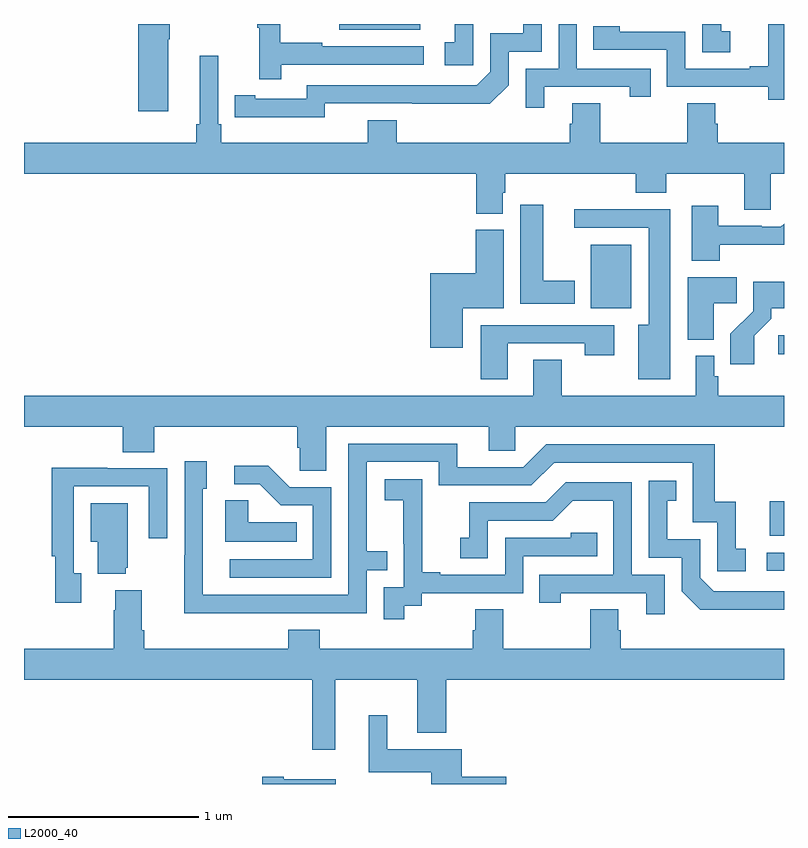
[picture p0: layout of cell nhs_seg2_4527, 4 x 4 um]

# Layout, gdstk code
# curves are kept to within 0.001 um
import gdstk
lib = gdstk.Library(unit=1e-6, precision=1e-09)
def R(c, l, rs):  # rectangles x0, y0, x1, y1
    for r in rs: c.add(gdstk.rectangle(r[:2], r[2:], *l))
def P(c, l, *ps):  # polygons
    for p in ps: c.add(gdstk.Polygon(p, *l))
L2000_40 = (2000, 40)

nhs_seg2_4527 = lib.new_cell('nhs_seg2_4527')
R(nhs_seg2_4527, L2000_40, [(360.909,602.922,361,603.018), (360.926,603.107,361,603.289), (360.969,604.063,361,604.161), (359.984,604.304,360.196,604.639), (358.659,605.771,359.086,605.8)])
P(nhs_seg2_4527, L2000_40, [(358.355,605.586),(359.104,605.586),(359.104,605.682),(358.571,605.682),(358.571,605.702),(358.348,605.702),(358.348,605.8),(358.227,605.8),(358.227,605.779),(358.238,605.779),(358.238,605.508),(358.355,605.508)],
  [(359.737,605.469),(360.188,605.469),(360.188,605.418),(360.299,605.418),(360.299,605.565),(359.91,605.565),(359.91,605.8),(359.814,605.8),(359.814,605.565),(359.64,605.565),(359.64,605.358),(359.737,605.358)],
  [(360.718,605.761),(360.669,605.761),(360.669,605.8),(360.57,605.8),(360.57,605.652),(360.718,605.652)],
  [(357.76,605.719),(357.768,605.719),(357.768,605.8),(357.602,605.8),(357.602,605.34),(357.76,605.34)],
  [(361,605.8),(360.917,605.8),(360.917,605.578),(360.821,605.578),(360.821,605.565),(360.48,605.565),(360.48,605.76),(360.135,605.76),(360.135,605.787),(359.995,605.787),(359.995,605.664),(360.384,605.664),(360.384,605.469),(360.918,605.469),(360.918,605.401),(361,605.401)],
  [(359.364,605.8),(359.267,605.8),(359.267,605.703),(359.214,605.703),(359.214,605.583),(359.364,605.583)],
  [(358.584,605.382),(359.452,605.381),(359.55,605.478),(359.55,605.655),(359.724,605.655),(359.724,605.8),(359.627,605.8),(359.627,605.751),(359.454,605.751),(359.454,605.55),(359.382,605.478),(358.488,605.478),(358.488,605.406),(358.216,605.406),(358.216,605.426),(358.108,605.426),(358.108,605.31),(358.584,605.309)],
  [(359.521,604.911),(359.534,604.911),(359.534,605.012),(360.221,605.012),(360.221,604.913),(360.381,604.913),(360.381,605.012),(360.791,605.012),(360.791,604.822),(360.93,604.822),(360.93,605.012),(361,605.012),(361,605.176),(360.65,605.176),(360.65,605.274),(360.637,605.274),(360.637,605.384),(360.49,605.384),(360.49,605.176),(360.033,605.176),(360.033,605.384),(359.885,605.384),(359.885,605.274),(359.873,605.274),(359.873,605.176),(358.961,605.176),(358.961,605.293),(358.808,605.293),(358.808,605.176),(358.037,605.176),(358.037,605.272),(358.023,605.272),(358.023,605.632),(357.926,605.632),(357.926,605.272),(357.907,605.272),(357.907,605.176),(357,605.176),(357,605.012),(359.381,605.012),(359.381,604.801),(359.521,604.801)],
  [(359.899,604.45),(359.734,604.45),(359.734,604.849),(359.612,604.849),(359.612,604.328),(359.899,604.328)],
  [(360.663,604.638),(361,604.637),(361,604.75),(360.984,604.734),(360.884,604.734),(360.884,604.737),(360.655,604.737),(360.655,604.843),(360.515,604.843),(360.515,604.553),(360.663,604.553)],
  [(360.4,604.826),(359.895,604.826),(359.895,604.728),(360.287,604.728),(360.287,604.216),(360.233,604.216),(360.233,603.93),(360.4,603.93)],
  [(359.308,604.304),(359.524,604.304),(359.524,604.716),(359.378,604.716),(359.378,604.489),(359.138,604.489),(359.138,604.095),(359.308,604.095)],
  [(360.631,604.33),(360.752,604.33),(360.752,604.468),(360.494,604.468),(360.494,604.139),(360.631,604.139)],
  [(360.844,604.159),(360.934,604.249),(360.934,604.304),(361,604.304),(361,604.444),(360.837,604.444),(360.837,604.289),(360.718,604.17),(360.718,604.008),(360.844,604.008)],
  [(359.545,604.119),(359.95,604.119),(359.95,604.056),(360.106,604.056),(360.106,604.215),(359.405,604.215),(359.405,603.93),(359.545,603.93)],
  [(357,603.68),(357.521,603.68),(357.521,603.547),(357.686,603.547),(357.686,603.68),(358.439,603.68),(358.439,603.571),(358.452,603.571),(358.452,603.448),(358.591,603.448),(358.591,603.68),(359.447,603.68),(359.447,603.553),(359.586,603.553),(359.586,603.68),(361,603.68),(361,603.844),(360.653,603.844),(360.653,603.945),(360.633,603.945),(360.633,604.054),(360.536,604.054),(360.536,603.844),(359.829,603.844),(359.829,604.034),(359.681,604.034),(359.681,603.844),(357,603.844)],
  [(358.307,602.7),(358.803,602.7),(358.803,602.925),(358.913,602.925),(358.913,603.026),(358.803,603.026),(358.803,603.495),(359.184,603.495),(359.184,603.372),(359.67,603.372),(359.79,603.492),(360.519,603.492),(360.519,603.177),(360.648,603.177),(360.648,602.919),(360.799,602.919),(360.799,603.039),(360.746,603.039),(360.746,603.286),(360.635,603.286),(360.635,603.588),(359.748,603.588),(359.628,603.468),(359.281,603.468),(359.281,603.591),(358.707,603.591),(358.707,602.796),(357.942,602.796),(357.942,603.354),(357.961,603.354),(357.961,603.499),(357.846,603.499),(357.846,603.005),(357.844,603.005),(357.844,602.699)],
  [(358.617,603.363),(358.398,603.363),(358.285,603.476),(358.107,603.476),(358.107,603.378),(358.241,603.378),(358.352,603.267),(358.521,603.267),(358.521,602.982),(358.083,602.982),(358.083,602.886),(358.617,602.886)],
  [(357.301,602.91),(357.261,602.91),(357.261,603.366),(357.657,603.366),(357.657,603.093),(357.753,603.093),(357.753,603.462),(357.437,603.462),(357.437,603.464),(357.145,603.464),(357.145,602.998),(357.164,602.998),(357.164,602.754),(357.301,602.754)],
  [(359.002,602.737),(359.094,602.737),(359.094,602.805),(359.628,602.805),(359.628,603),(360.017,603),(360.017,603.123),(359.877,603.123),(359.877,603.096),(359.532,603.096),(359.532,602.901),(359.191,602.901),(359.191,602.914),(359.096,602.914),(359.096,603.197),(359.097,603.197),(359.097,603.403),(358.899,603.403),(358.899,603.293),(358.997,603.293),(358.997,603.065),(358.998,603.065),(358.998,602.835),(358.893,602.835),(358.893,602.667),(359.002,602.667)],
  [(360.968,602.718),(361,602.718),(361,602.814),(360.63,602.814),(360.558,602.886),(360.558,603.087),(360.385,603.087),(360.385,603.291),(360.434,603.291),(360.434,603.397),(360.288,603.397),(360.288,602.991),(360.462,602.991),(360.462,602.814),(360.56,602.717)],
  [(360.372,602.901),(360.198,602.901),(360.198,603.387),(359.852,603.387),(359.747,603.282),(359.344,603.282),(359.344,603.097),(359.295,603.097),(359.295,602.988),(359.442,602.988),(359.442,603.186),(359.784,603.186),(359.888,603.29),(360.102,603.29),(360.102,602.901),(359.713,602.901),(359.713,602.754),(359.824,602.754),(359.824,602.805),(360.275,602.805),(360.275,602.694),(360.372,602.694)],
  [(358.436,603.178),(358.179,603.178),(358.179,603.293),(358.058,603.293),(358.058,603.074),(358.436,603.074)],
  [(357.536,602.937),(357.547,602.937),(357.547,603.277),(357.35,603.277),(357.35,603.074),(357.389,603.074),(357.389,602.906),(357.536,602.906)],
  [(358.639,602.348),(359.069,602.348),(359.069,602.069),(359.222,602.069),(359.222,602.348),(361,602.348),(361,602.512),(360.14,602.512),(360.14,602.61),(360.127,602.61),(360.127,602.72),(359.98,602.72),(359.98,602.512),(359.523,602.512),(359.523,602.72),(359.375,602.72),(359.375,602.61),(359.363,602.61),(359.363,602.512),(358.556,602.512),(358.556,602.611),(358.391,602.611),(358.391,602.512),(357.632,602.512),(357.632,602.608),(357.619,602.608),(357.619,602.821),(357.479,602.821),(357.479,602.714),(357.472,602.714),(357.472,602.512),(357,602.512),(357,602.348),(358.518,602.348),(358.518,601.98),(358.639,601.98)],
  [(359.539,601.838),(359.303,601.838),(359.303,601.984),(358.912,601.984),(358.912,602.161),(358.814,602.161),(358.814,601.862),(359.144,601.862),(359.144,601.8),(359.539,601.8)],
  [(358.642,601.825),(358.366,601.825),(358.366,601.838),(358.254,601.838),(358.254,601.8),(358.642,601.8)])

lib.write_gds('nhs_seg2_4527.gds')
